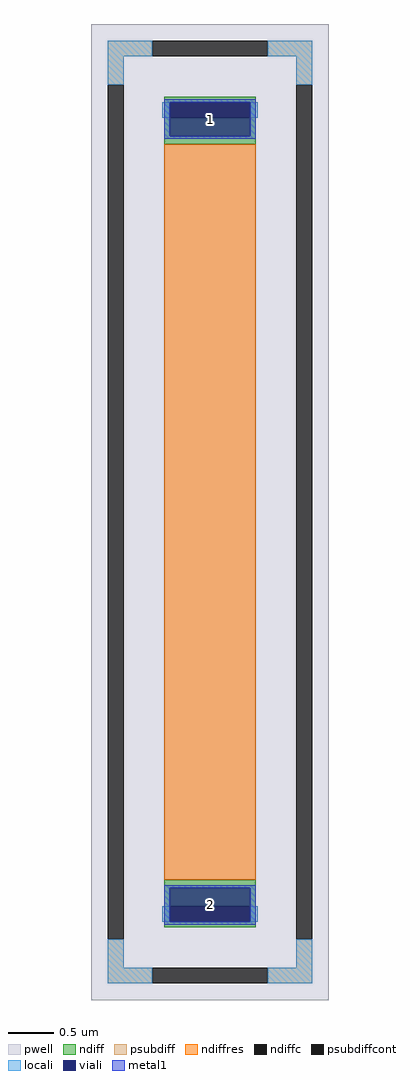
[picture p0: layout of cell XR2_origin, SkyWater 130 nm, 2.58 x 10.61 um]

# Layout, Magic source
magic
tech sky130A
magscale 1 2
<< pwell >>
rect -258 -1061 258 1061
<< ndiff >>
rect -100 891 100 903
rect -100 857 -88 891
rect 88 857 100 891
rect -100 800 100 857
rect -100 -857 100 -800
rect -100 -891 -88 -857
rect 88 -891 100 -857
rect -100 -903 100 -891
<< ndiffc >>
rect -88 857 88 891
rect -88 -891 88 -857
<< psubdiff >>
rect -222 991 -126 1025
rect 126 991 222 1025
rect -222 929 -188 991
rect 188 929 222 991
rect -222 -991 -188 -929
rect 188 -991 222 -929
rect -222 -1025 -126 -991
rect 126 -1025 222 -991
<< psubdiffcont >>
rect -126 991 126 1025
rect -222 -929 -188 929
rect 188 -929 222 929
rect -126 -1025 126 -991
<< ndiffres >>
rect -100 -800 100 800
<< locali >>
rect -222 991 -126 1025
rect 126 991 222 1025
rect -222 929 -188 991
rect 188 929 222 991
rect -104 857 -88 891
rect 88 857 104 891
rect -104 -891 -88 -857
rect 88 -891 104 -857
rect -222 -991 -188 -929
rect 188 -991 222 -929
rect -222 -1025 -126 -991
rect 126 -1025 222 -991
<< viali >>
rect -88 857 88 891
rect -88 817 88 857
rect -88 -857 88 -817
rect -88 -891 88 -857
<< metal1 >>
rect -100 891 100 897
rect -100 817 -88 891
rect 88 817 100 891
rect -100 811 100 817
rect -100 -817 100 -811
rect -100 -891 -88 -817
rect 88 -891 100 -817
rect -100 -897 100 -891
<< labels >>
flabel metal1 0 853 0 853 0 FreeSans 240 0 0 0 1
flabel metal1 0 -853 0 -853 0 FreeSans 240 0 0 0 2
<< properties >>
string FIXED_BBOX -205 -1008 205 1008
<< end >>
